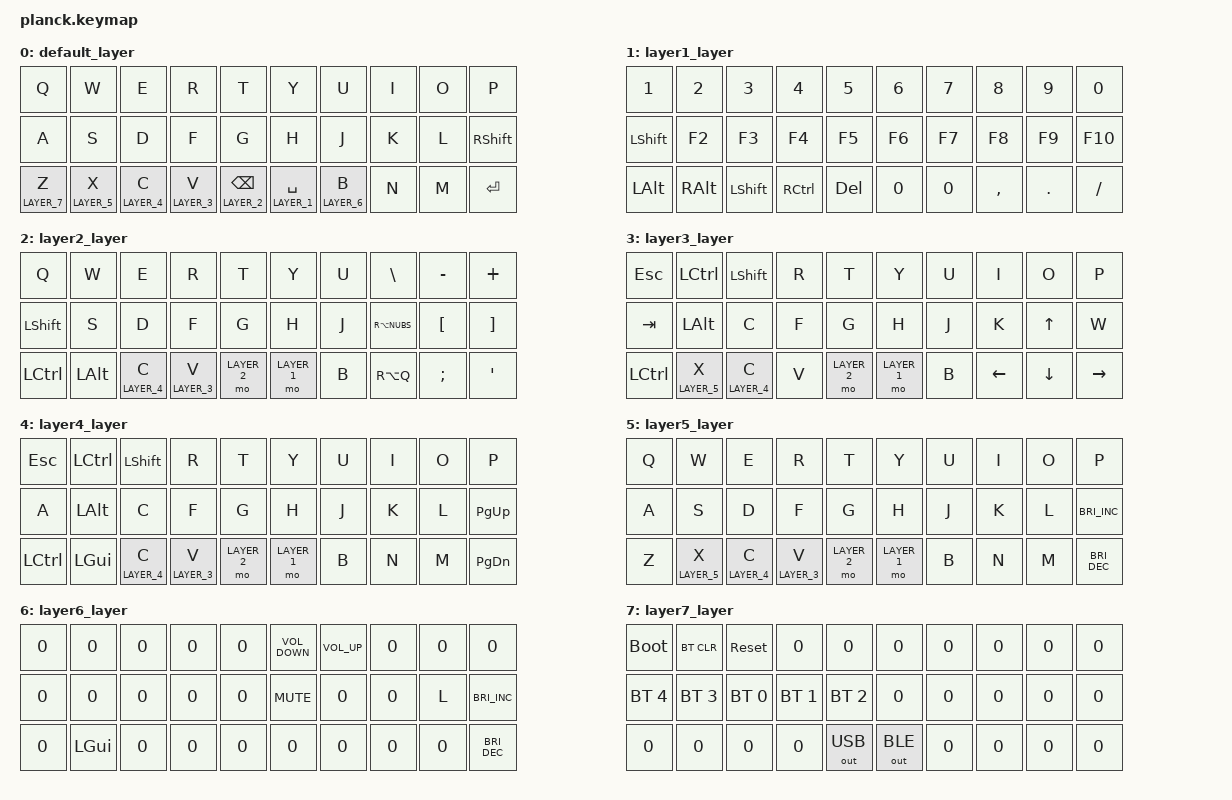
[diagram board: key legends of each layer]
#include <behaviors.dtsi>
#include <dt-bindings/zmk/keys.h>
#include <dt-bindings/zmk/bt.h>
#include <dt-bindings/zmk/outputs.h>

#define LAYER_1 1
#define LAYER_2   2
#define LAYER_3   3
#define LAYER_4 4
#define LAYER_5  5
#define LAYER_6  6
#define LAYER_7  7
/ {

    behaviors {
        td0: tap_dance_0 {
            compatible = "zmk,behavior-tap-dance";
            label = "TAP_DANCE_0";
            #binding-cells = <0>;
            tapping-term-ms = <200>;
            bindings = <&kp BACKSPACE>;
        };
     };

    keymap {
        compatible = "zmk,keymap";

        default_layer {

            bindings = <
                &kp Q   &kp W   &kp E   &kp R   &kp T   &kp Y   &kp U   &kp I   &kp O   &kp P  
                  &kp A   &kp S   &kp D   &kp F   &kp G   &kp H   &kp J   &kp K   &kp L   &kp RSHIFT  
                 &lt LAYER_7 Z   &lt LAYER_5 X   &lt LAYER_4 C   &lt LAYER_3 V   &lt LAYER_2 BACKSPACE   &lt LAYER_1 SPACE   &lt LAYER_6 B   &kp N   &kp M   &kp ENTER   
            >;

        };

        layer1_layer {

            bindings = <
                  &kp N1   &kp N2   &kp N3  &kp N4   &kp N5   &kp N6   &kp N7   &kp N8   &kp N9   &kp N0   
                   &kp LEFT_SHIFT   &kp F2   &kp F3   &kp F4   &kp F5   &kp F6   &kp F7   &kp F8   &kp F9   &kp F10  
                   &kp LEFT_ALT   &kp RIGHT_ALT   &kp LEFT_SHIFT   &kp RIGHT_CONTROL   &kp DELETE   &kp N0   &kp N0   &kp COMMA   &kp DOT   &kp SLASH  
            >;

        };

        layer2_layer {

            bindings = <
                &kp Q   &kp W   &kp E   &kp R   &kp T   &kp Y   &kp U   &kp BACKSLASH   &kp MINUS   &kp PLUS  
               &kp LEFT_SHIFT   &kp S   &kp D   &kp F   &kp G   &kp H   &kp J   &kp RA(NUBS)   &kp LEFT_BRACKET   &kp RIGHT_BRACKET  
                 &kp LEFT_CONTROL   &kp LEFT_ALT   &lt LAYER_4 C   &lt LAYER_3 V   &mo LAYER_2   &mo LAYER_1   &kp B   &kp RA(Q)   &kp SEMICOLON   &kp SINGLE_QUOTE  
               
            >;

        };

        layer3_layer {

            bindings = <
                 &kp ESC   &kp LCTRL   &kp LSHIFT   &kp R   &kp T   &kp Y   &kp U   &kp I   &kp O   &kp P   
                  &kp TAB   &kp LALT   &kp C   &kp F   &kp G   &kp H   &kp J   &kp K   &kp UP_ARROW   &kp W  
                  &kp LCTRL   &lt LAYER_5 X   &lt LAYER_4 C   &kp V   &mo LAYER_2   &mo LAYER_1   &kp B   &kp LEFT_ARROW   &kp DOWN_ARROW   &kp RIGHT_ARROW  
            >;

        };

        layer4_layer {

            bindings = <
                  &kp ESC   &kp LCTRL   &kp LSHIFT   &kp R   &kp T   &kp Y   &kp U   &kp I   &kp O   &kp P   
                  &kp A   &kp LEFT_ALT   &kp C   &kp F   &kp G   &kp H   &kp J   &kp K   &kp L   &kp PAGE_UP  
                  &kp LCTRL   &kp LEFT_GUI   &lt LAYER_4 C   &lt LAYER_3 V   &mo LAYER_2   &mo LAYER_1   &kp B   &kp N   &kp M   &kp PAGE_DOWN 
                
            >;

        };

        layer5_layer {

            bindings = <
                 &kp Q   &kp W   &kp E   &kp R   &kp T   &kp Y   &kp U   &kp I   &kp O   &kp P   
                  &kp A   &kp S   &kp D   &kp F   &kp G   &kp H   &kp J   &kp K   &kp L   &kp C_BRIGHTNESS_INC   
                   &kp Z   &lt LAYER_5 X   &lt LAYER_4 C   &lt LAYER_3 V   &mo LAYER_2   &mo LAYER_1   &kp B   &kp N   &kp M   &kp C_BRIGHTNESS_DEC
              
            >;

        };

        layer6_layer {

            bindings = <
                  &kp N0   &kp N0   &kp N0   &kp N0   &kp N0   &kp C_VOLUME_DOWN   &kp C_VOLUME_UP   &kp N0   &kp N0   &kp N0   
                    &kp N0   &kp N0   &kp N0   &kp N0   &kp N0   &kp K_MUTE   &kp N0   &kp N0   &kp L   &kp C_BRIGHTNESS_INC   
                    &kp N0   &kp LEFT_GUI   &kp N0   &kp N0   &kp N0   &kp N0   &kp N0   &kp N0   &kp N0   &kp C_BRIGHTNESS_DEC   
                
            >;

        };

        layer7_layer {

            bindings = <
                   &bootloader   &bt BT_CLR     &sys_reset   &kp N0   &kp N0   &kp N0   &kp N0   &kp N0   &kp N0   &kp N0   
                   &bt BT_SEL 4  &bt BT_SEL 3   &bt BT_SEL 0   &bt BT_SEL 1   &bt BT_SEL 2   &kp N0   &kp N0   &kp N0   &kp N0   &kp N0   
                   &kp N0   &kp N0   &kp N0   &kp N0   &out OUT_USB   &out OUT_BLE  &kp N0   &kp N0   &kp N0   &kp N0   
            >;

        };
    };
};
